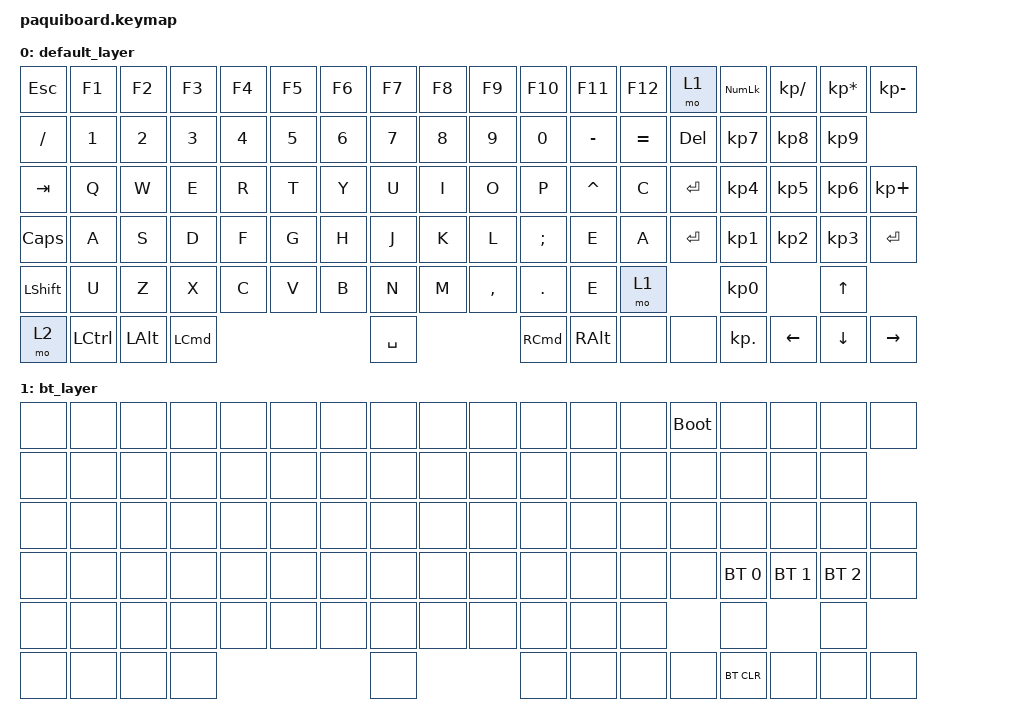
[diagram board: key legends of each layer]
#include <behaviors.dtsi>
#include <dt-bindings/zmk/keys.h>
#include <dt-bindings/zmk/bt.h>

/ {
    keymap {
        compatible = "zmk,keymap";

        default_layer {
// -----------------------------------------------------------------------------------------
// | ESC |  F1 |  F2 |  F3 |  F4 |  F5 |  F6 |  F7 |  F8 |  F9 |  F10|  F11|  F12|  PWR|  |NUMLC|  /  |  *  |  -  |
// | FSLH|  1  |  2  |  3  |  4  |  5  |  6  |  7  |  8  |  9  |  0  |MINUS|EQUAL|  DEL|  |  7  |  8  |  9  | NONE|
// | TAB |  q  |  w  |  e  |  r  |  t  |  y  |  u  |  i  |  o  |  p  |CARET|  ç  |  RET|  |  4  |  5  |  6  |  +  |
// | CAPS|  a  |  s  |  d  |  f  |  g  |  h  |  j  |  k  |  l  |  ;  |  è  |  à  |  RET|  |  1  |  2  |  3  |  RET|
// |LSHFT|  ù  |  z  |  x  |  c  |  v  |  b  |  n  |  m  |  ,  |  .  |  é  |RSHFT| NONE|  |  0  | NONE|  UP | NONE|
// | fn  |LCTRL| LALT| LCMD| NONE| NONE| NONE|SPACE| NONE| NONE| RCMD| RALT| NONE| NONE|  |  .  | LEFT| DOWN|RIGHT|
            bindings = <
   &kp ESC   &kp F1    &kp F2   &kp F3   &kp F4 &kp F5 &kp F6 &kp F7    &kp F8 &kp F9    &kp F10  &kp F11   &kp F12   &mo 1           &kp KP_NLCK &kp KP_DIVIDE &kp KP_MULTIPLY &kp KP_MINUS 
   &kp FSLH  &kp N1    &kp N2   &kp N3   &kp N4 &kp N5 &kp N6 &kp N7    &kp N8 &kp N9    &kp N0   &kp MINUS &kp EQUAL &kp DEL         &kp KP_N7   &kp KP_N8     &kp KP_N9
   &kp TAB   &kp Q     &kp W    &kp E    &kp R  &kp T  &kp Y  &kp U     &kp I  &kp O     &kp P    &kp CARET &kp C     &kp RET         &kp KP_N4   &kp KP_N5     &kp KP_N6       &kp KP_PLUS 
   &kp CAPS  &kp A     &kp S    &kp D    &kp F  &kp G  &kp H  &kp J     &kp K  &kp L     &kp SEMI &kp E     &kp A     &kp RET         &kp KP_N1   &kp KP_N2     &kp KP_N3       &kp RET 
   &kp LSHFT &kp U     &kp Z    &kp X    &kp C  &kp V  &kp B  &kp N     &kp M  &kp COMMA &kp DOT  &kp E     &mo 1                     &kp KP_N0                 &kp UP
   &mo 2     &kp LCTRL &kp LALT &kp LCMD                      &kp SPACE                  &kp RCMD &kp RALT  &none     &none           &kp KP_DOT  &kp LEFT      &kp DOWN        &kp RIGHT 
            >;
        };

        bt_layer {
            bindings = <
   &none &none &none &none &none &none &none &none &none &none &none &none &none &bootloader         &none        &none        &none        &none 
   &none &none &none &none &none &none &none &none &none &none &none &none &none &none               &none        &none        &none
   &none &none &none &none &none &none &none &none &none &none &none &none &none &none               &none        &none        &none        &none 
   &none &none &none &none &none &none &none &none &none &none &none &none &none &none               &bt BT_SEL 0 &bt BT_SEL 1 &bt BT_SEL 2 &none 
   &none &none &none &none &none &none &none &none &none &none &none &none &none                     &none                     &none
   &none &none &none &none                   &none             &none &none &none &none               &bt BT_CLR   &none        &none        &none 
            >;
        };
    };
};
